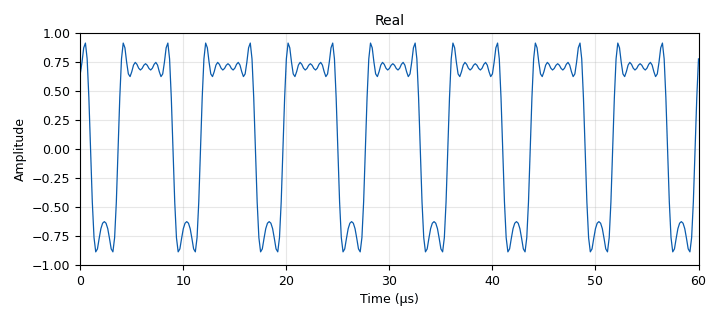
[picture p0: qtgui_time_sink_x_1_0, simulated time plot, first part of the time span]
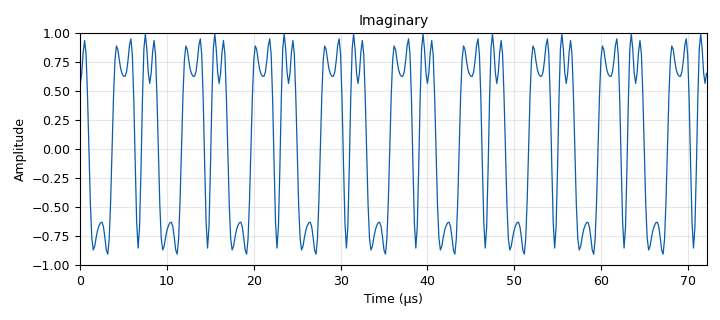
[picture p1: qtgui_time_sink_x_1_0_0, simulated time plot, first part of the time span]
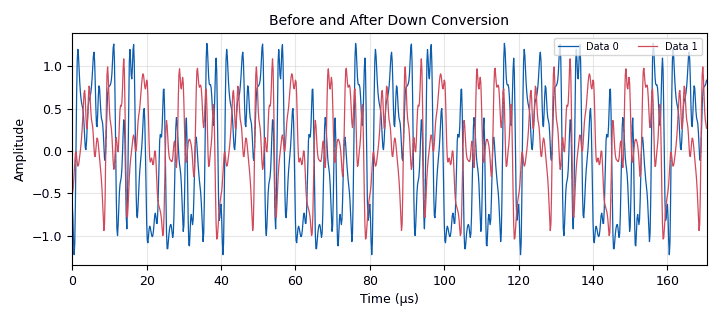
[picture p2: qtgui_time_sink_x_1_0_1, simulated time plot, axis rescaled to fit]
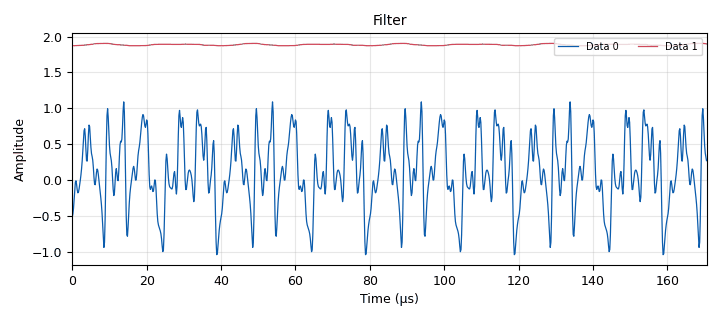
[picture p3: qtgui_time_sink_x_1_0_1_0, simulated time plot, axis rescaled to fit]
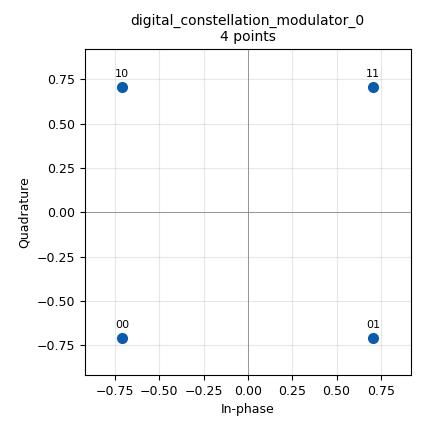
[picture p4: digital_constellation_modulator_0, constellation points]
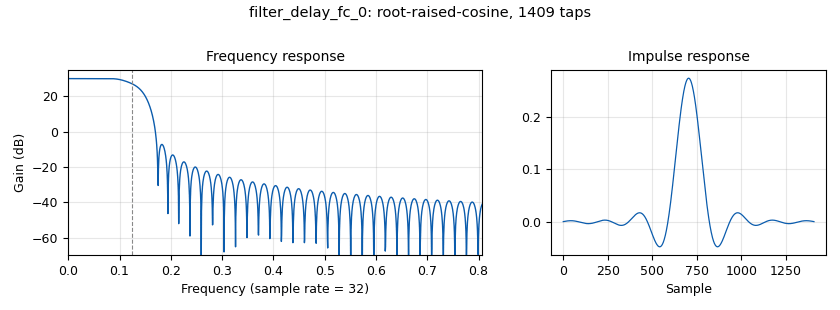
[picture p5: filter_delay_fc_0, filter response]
<?xml version='1.0' encoding='utf-8'?>
<?grc format='1' created='3.7.11'?>
<flow_graph>
<block>
<key>options</key>
<param><key>id</key><value>delay_test</value></param>
<param><key>generate_options</key><value>qt_gui</value></param>
</block>
<block>
<key>variable_constellation</key>
<param><key>id</key><value>constel</value></param>
<param><key>const_points</key><value>digital.psk_4()[0]</value></param>
<param><key>type</key><value>calcdist</value></param>
<param><key>dims</key><value>1</value></param>
<param><key>rot_sym</key><value>4</value></param>
<param><key>soft_dec_lut</key><value>'auto'</value></param>
<param><key>precision</key><value>8</value></param>
<param><key>sym_map</key><value>digital.psk_4()[1]</value></param>
</block>
<block>
<key>variable</key>
<param><key>id</key><value>nfilts</value></param>
<param><key>value</key><value>32</value></param>
</block>
<block>
<key>variable</key>
<param><key>id</key><value>rrc_taps</value></param>
<param><key>value</key><value>firdes.root_raised_cosine(nfilts, nfilts, 1.0/float(sps), 0.35, 11*sps*nfilts)</value></param>
</block>
<block>
<key>variable</key>
<param><key>id</key><value>samp_rate</value></param>
<param><key>value</key><value>6e6</value></param>
</block>
<block>
<key>variable</key>
<param><key>id</key><value>sps</value></param>
<param><key>value</key><value>4</value></param>
</block>
<block>
<key>analog_sig_source_x</key>
<param><key>id</key><value>analog_sig_source_x_0</value></param>
<param><key>amp</key><value>1</value></param>
<param><key>freq</key><value>10e4</value></param>
<param><key>offset</key><value>0</value></param>
<param><key>type</key><value>float</value></param>
<param><key>samp_rate</key><value>samp_rate</value></param>
<param><key>waveform</key><value>analog.GR_COS_WAVE</value></param>
</block>
<block>
<key>analog_sig_source_x</key>
<param><key>id</key><value>analog_sig_source_x_0_0</value></param>
<param><key>amp</key><value>-1</value></param>
<param><key>freq</key><value>10e4</value></param>
<param><key>offset</key><value>0</value></param>
<param><key>type</key><value>float</value></param>
<param><key>samp_rate</key><value>samp_rate</value></param>
<param><key>waveform</key><value>analog.GR_SIN_WAVE</value></param>
</block>
<block>
<key>analog_sig_source_x</key>
<param><key>id</key><value>analog_sig_source_x_0_0_0</value></param>
<param><key>amp</key><value>-1</value></param>
<param><key>freq</key><value>10e4</value></param>
<param><key>offset</key><value>0</value></param>
<param><key>type</key><value>float</value></param>
<param><key>samp_rate</key><value>samp_rate</value></param>
<param><key>waveform</key><value>analog.GR_SIN_WAVE</value></param>
</block>
<block>
<key>analog_sig_source_x</key>
<param><key>id</key><value>analog_sig_source_x_0_1</value></param>
<param><key>amp</key><value>1</value></param>
<param><key>freq</key><value>10e4</value></param>
<param><key>offset</key><value>0</value></param>
<param><key>type</key><value>float</value></param>
<param><key>samp_rate</key><value>samp_rate</value></param>
<param><key>waveform</key><value>analog.GR_COS_WAVE</value></param>
</block>
<block>
<key>blocks_add_xx</key>
<param><key>id</key><value>blocks_add_xx_0</value></param>
<param><key>type</key><value>float</value></param>
</block>
<block>
<key>blocks_complex_to_float</key>
<param><key>id</key><value>blocks_complex_to_float_0</value></param>
</block>
<block>
<key>blocks_complex_to_float</key>
<param><key>id</key><value>blocks_complex_to_float_0_0</value></param>
</block>
<block>
<key>blocks_multiply_xx</key>
<param><key>id</key><value>blocks_multiply_xx_0_0</value></param>
<param><key>type</key><value>float</value></param>
</block>
<block>
<key>blocks_multiply_xx</key>
<param><key>id</key><value>blocks_multiply_xx_0_0_0</value></param>
<param><key>type</key><value>float</value></param>
</block>
<block>
<key>blocks_multiply_xx</key>
<param><key>id</key><value>blocks_multiply_xx_0_0_1</value></param>
<param><key>type</key><value>float</value></param>
</block>
<block>
<key>blocks_multiply_xx</key>
<param><key>id</key><value>blocks_multiply_xx_0_0_2</value></param>
<param><key>type</key><value>float</value></param>
</block>
<block>
<key>blocks_vector_source_x</key>
<param><key>id</key><value>blocks_vector_source_x_0</value></param>
<param><key>type</key><value>byte</value></param>
<param><key>repeat</key><value>True</value></param>
<param><key>vector</key><value>(255, 127, 0)</value></param>
</block>
<block>
<key>digital_constellation_modulator</key>
<param><key>id</key><value>digital_constellation_modulator_0</value></param>
<param><key>constellation</key><value>constel</value></param>
<param><key>differential</key><value>False</value></param>
<param><key>excess_bw</key><value>0.35</value></param>
<param><key>samples_per_symbol</key><value>sps</value></param>
</block>
<block>
<key>filter_delay_fc</key>
<param><key>id</key><value>filter_delay_fc_0</value></param>
<param><key>taps</key><value>rrc_taps</value></param>
</block>
<block>
<key>qtgui_time_sink_x</key>
<param><key>id</key><value>qtgui_time_sink_x_1_0</value></param>
<param><key>color1</key><value>"blue"</value></param>
<param><key>label1</key><value></value></param>
<param><key>name</key><value>"Real"</value></param>
<param><key>size</key><value>1024</value></param>
<param><key>srate</key><value>samp_rate</value></param>
<param><key>type</key><value>float</value></param>
</block>
<block>
<key>qtgui_time_sink_x</key>
<param><key>id</key><value>qtgui_time_sink_x_1_0_0</value></param>
<param><key>color1</key><value>"blue"</value></param>
<param><key>label1</key><value></value></param>
<param><key>name</key><value>"Imaginary"</value></param>
<param><key>size</key><value>1024</value></param>
<param><key>srate</key><value>samp_rate</value></param>
<param><key>type</key><value>float</value></param>
</block>
<block>
<key>qtgui_time_sink_x</key>
<param><key>id</key><value>qtgui_time_sink_x_1_0_1</value></param>
<param><key>color1</key><value>"blue"</value></param>
<param><key>label1</key><value></value></param>
<param><key>color2</key><value>"red"</value></param>
<param><key>label2</key><value></value></param>
<param><key>name</key><value>"Before and After Down Conversion"</value></param>
<param><key>nconnections</key><value>2</value></param>
<param><key>size</key><value>1024</value></param>
<param><key>srate</key><value>samp_rate</value></param>
<param><key>type</key><value>float</value></param>
</block>
<block>
<key>qtgui_time_sink_x</key>
<param><key>id</key><value>qtgui_time_sink_x_1_0_1_0</value></param>
<param><key>color1</key><value>"blue"</value></param>
<param><key>label1</key><value></value></param>
<param><key>color2</key><value>"red"</value></param>
<param><key>label2</key><value></value></param>
<param><key>name</key><value>"Filter"</value></param>
<param><key>nconnections</key><value>2</value></param>
<param><key>size</key><value>1024</value></param>
<param><key>srate</key><value>samp_rate</value></param>
<param><key>type</key><value>float</value></param>
</block>
<block>
<key>rational_resampler_xxx</key>
<param><key>id</key><value>rational_resampler_xxx_0</value></param>
<param><key>decim</key><value>1</value></param>
<param><key>_enabled</key><value>0</value></param>
<param><key>interp</key><value>2</value></param>
<param><key>taps</key><value>rrc_taps</value></param>
<param><key>type</key><value>fff</value></param>
</block>
<block>
<key>virtual_sink</key>
<param><key>id</key><value>virtual_sink_0</value></param>
<param><key>stream_id</key><value>real</value></param>
</block>
<block>
<key>virtual_sink</key>
<param><key>id</key><value>virtual_sink_0_0</value></param>
<param><key>stream_id</key><value>img</value></param>
</block>
<block>
<key>virtual_sink</key>
<param><key>id</key><value>virtual_sink_1</value></param>
<param><key>stream_id</key><value>passband</value></param>
</block>
<block>
<key>virtual_source</key>
<param><key>id</key><value>virtual_source_0</value></param>
<param><key>stream_id</key><value>real</value></param>
</block>
<block>
<key>virtual_source</key>
<param><key>id</key><value>virtual_source_0_0</value></param>
<param><key>stream_id</key><value>img</value></param>
</block>
<block>
<key>virtual_source</key>
<param><key>id</key><value>virtual_source_1</value></param>
<param><key>stream_id</key><value>passband</value></param>
</block>
<connection><source_block_id>analog_sig_source_x_0</source_block_id><sink_block_id>blocks_multiply_xx_0_0</sink_block_id><source_key>0</source_key><sink_key>0</sink_key></connection>
<connection><source_block_id>analog_sig_source_x_0_0</source_block_id><sink_block_id>blocks_multiply_xx_0_0_0</sink_block_id><source_key>0</source_key><sink_key>0</sink_key></connection>
<connection><source_block_id>analog_sig_source_x_0_0_0</source_block_id><sink_block_id>blocks_multiply_xx_0_0_2</sink_block_id><source_key>0</source_key><sink_key>1</sink_key></connection>
<connection><source_block_id>analog_sig_source_x_0_1</source_block_id><sink_block_id>blocks_multiply_xx_0_0_1</sink_block_id><source_key>0</source_key><sink_key>0</sink_key></connection>
<connection><source_block_id>blocks_add_xx_0</source_block_id><sink_block_id>qtgui_time_sink_x_1_0_1</sink_block_id><source_key>0</source_key><sink_key>0</sink_key></connection>
<connection><source_block_id>blocks_add_xx_0</source_block_id><sink_block_id>virtual_sink_1</sink_block_id><source_key>0</source_key><sink_key>0</sink_key></connection>
<connection><source_block_id>blocks_complex_to_float_0</source_block_id><sink_block_id>qtgui_time_sink_x_1_0_0</sink_block_id><source_key>1</source_key><sink_key>0</sink_key></connection>
<connection><source_block_id>blocks_complex_to_float_0</source_block_id><sink_block_id>virtual_sink_0_0</sink_block_id><source_key>1</source_key><sink_key>0</sink_key></connection>
<connection><source_block_id>blocks_complex_to_float_0</source_block_id><sink_block_id>qtgui_time_sink_x_1_0</sink_block_id><source_key>0</source_key><sink_key>0</sink_key></connection>
<connection><source_block_id>blocks_complex_to_float_0</source_block_id><sink_block_id>virtual_sink_0</sink_block_id><source_key>0</source_key><sink_key>0</sink_key></connection>
<connection><source_block_id>blocks_complex_to_float_0_0</source_block_id><sink_block_id>qtgui_time_sink_x_1_0_1_0</sink_block_id><source_key>1</source_key><sink_key>1</sink_key></connection>
<connection><source_block_id>blocks_complex_to_float_0_0</source_block_id><sink_block_id>qtgui_time_sink_x_1_0_1</sink_block_id><source_key>0</source_key><sink_key>1</sink_key></connection>
<connection><source_block_id>blocks_complex_to_float_0_0</source_block_id><sink_block_id>qtgui_time_sink_x_1_0_1_0</sink_block_id><source_key>0</source_key><sink_key>0</sink_key></connection>
<connection><source_block_id>blocks_multiply_xx_0_0</source_block_id><sink_block_id>blocks_add_xx_0</sink_block_id><source_key>0</source_key><sink_key>0</sink_key></connection>
<connection><source_block_id>blocks_multiply_xx_0_0_0</source_block_id><sink_block_id>blocks_add_xx_0</sink_block_id><source_key>0</source_key><sink_key>1</sink_key></connection>
<connection><source_block_id>blocks_multiply_xx_0_0_1</source_block_id><sink_block_id>filter_delay_fc_0</sink_block_id><source_key>0</source_key><sink_key>0</sink_key></connection>
<connection><source_block_id>blocks_multiply_xx_0_0_2</source_block_id><sink_block_id>filter_delay_fc_0</sink_block_id><source_key>0</source_key><sink_key>1</sink_key></connection>
<connection><source_block_id>blocks_vector_source_x_0</source_block_id><sink_block_id>digital_constellation_modulator_0</sink_block_id><source_key>0</source_key><sink_key>0</sink_key></connection>
<connection><source_block_id>digital_constellation_modulator_0</source_block_id><sink_block_id>blocks_complex_to_float_0</sink_block_id><source_key>0</source_key><sink_key>0</sink_key></connection>
<connection><source_block_id>filter_delay_fc_0</source_block_id><sink_block_id>blocks_complex_to_float_0_0</sink_block_id><source_key>0</source_key><sink_key>0</sink_key></connection>
<connection><source_block_id>virtual_source_0</source_block_id><sink_block_id>blocks_multiply_xx_0_0</sink_block_id><source_key>0</source_key><sink_key>1</sink_key></connection>
<connection><source_block_id>virtual_source_0_0</source_block_id><sink_block_id>blocks_multiply_xx_0_0_0</sink_block_id><source_key>0</source_key><sink_key>1</sink_key></connection>
<connection><source_block_id>virtual_source_1</source_block_id><sink_block_id>blocks_multiply_xx_0_0_1</sink_block_id><source_key>0</source_key><sink_key>1</sink_key></connection>
<connection><source_block_id>virtual_source_1</source_block_id><sink_block_id>blocks_multiply_xx_0_0_2</sink_block_id><source_key>0</source_key><sink_key>0</sink_key></connection>
</flow_graph>
